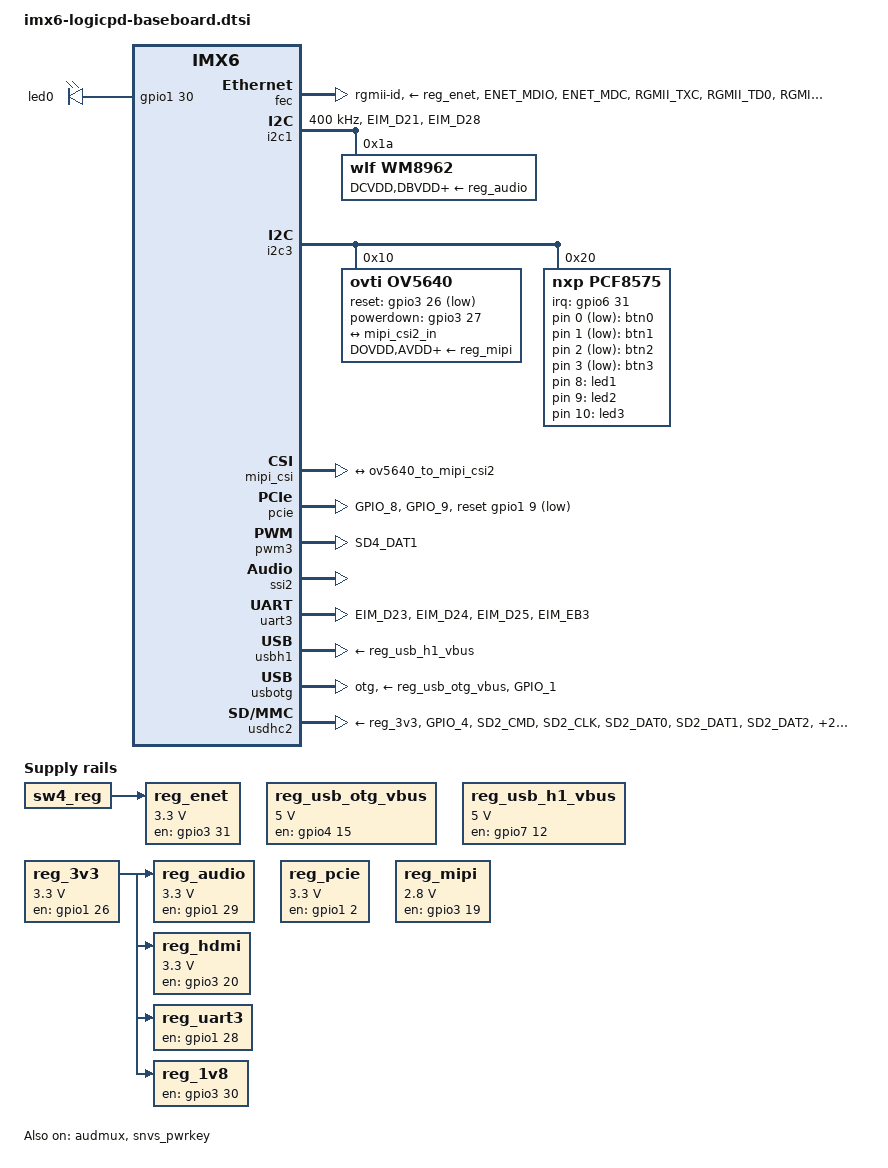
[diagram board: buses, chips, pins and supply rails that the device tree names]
// SPDX-License-Identifier: GPL-2.0
//
// Copyright (C) 2019 Logic PD, Inc.

/ {
	keyboard {
		compatible = "gpio-keys";

		btn0 {
			gpios = <&pcf8575 0 GPIO_ACTIVE_LOW>;
			label = "btn0";
			linux,code = <KEY_WAKEUP>;
			debounce-interval = <10>;
			wakeup-source;
		};

		btn1 {
			gpios = <&pcf8575 1 GPIO_ACTIVE_LOW>;
			label = "btn1";
			linux,code = <KEY_WAKEUP>;
			debounce-interval = <10>;
			wakeup-source;
		};

		btn2 {
			gpios = <&pcf8575 2 GPIO_ACTIVE_LOW>;
			label = "btn2";
			linux,code = <KEY_WAKEUP>;
			debounce-interval = <10>;
			wakeup-source;
		};

		btn3 {
			gpios = <&pcf8575 3 GPIO_ACTIVE_LOW>;
			label = "btn3";
			linux,code = <KEY_WAKEUP>;
			debounce-interval = <10>;
			wakeup-source;
		};

	};

	leds {
		compatible = "gpio-leds";

		gen-led0 {
			label = "led0";
			pinctrl-names = "default";
			pinctrl-0 = <&pinctrl_led0>;
			gpios = <&gpio1 30 GPIO_ACTIVE_HIGH>;
			linux,default-trigger = "cpu0";
		};

		gen-led1 {
			label = "led1";
			gpios = <&pcf8575 8 GPIO_ACTIVE_HIGH>;
		};

		gen-led2 {
			label = "led2";
			gpios = <&pcf8575 9 GPIO_ACTIVE_HIGH>;
			linux,default-trigger = "heartbeat";
		};

		gen-led3 {
			label = "led3";
			gpios = <&pcf8575 10 GPIO_ACTIVE_HIGH>;
			linux,default-trigger = "default-on";
		};
	};

	reg_usb_otg_vbus: regulator-otg-vbus {
		pinctrl-names = "default";
		pinctrl-0 = <&pinctrl_reg_usb_otg>;
		compatible = "regulator-fixed";
		regulator-name = "usb_otg_vbus";
		regulator-min-microvolt = <5000000>;
		regulator-max-microvolt = <5000000>;
		gpio = <&gpio4 15 GPIO_ACTIVE_HIGH>;
		enable-active-high;
	};

	reg_usb_h1_vbus: regulator-usb-h1-vbus {
		pinctrl-names = "default";
		pinctrl-0 = <&pinctrl_reg_usb_h1_vbus>;
		compatible = "regulator-fixed";
		regulator-name = "usb_h1_vbus";
		regulator-min-microvolt = <5000000>;
		regulator-max-microvolt = <5000000>;
		gpio = <&gpio7 12 GPIO_ACTIVE_HIGH>;
		startup-delay-us = <70000>;
		enable-active-high;
	};

	reg_3v3: regulator-3v3 {
		pinctrl-names = "default";
		pinctrl-0 = <&pinctrl_reg_3v3>;
		compatible = "regulator-fixed";
		regulator-name = "reg_3v3";
		regulator-min-microvolt = <3300000>;
		regulator-max-microvolt = <3300000>;
		gpio = <&gpio1 26 GPIO_ACTIVE_HIGH>;
		startup-delay-us = <70000>;
		enable-active-high;
		regulator-always-on;
	};

	reg_enet: regulator-ethernet {
		pinctrl-names = "default";
		pinctrl-0 = <&pinctrl_reg_enet>;
		compatible = "regulator-fixed";
		regulator-name = "ethernet-supply";
		regulator-min-microvolt = <3300000>;
		regulator-max-microvolt = <3300000>;
		gpio = <&gpio3 31 GPIO_ACTIVE_HIGH>;
		startup-delay-us = <70000>;
		enable-active-high;
		vin-supply = <&sw4_reg>;
	};

	reg_audio: regulator-audio {
		pinctrl-names = "default";
		pinctrl-0 = <&pinctrl_reg_audio>;
		compatible = "regulator-fixed";
		regulator-name = "3v3_aud";
		regulator-min-microvolt = <3300000>;
		regulator-max-microvolt = <3300000>;
		gpio = <&gpio1 29 GPIO_ACTIVE_HIGH>;
		enable-active-high;
		vin-supply = <&reg_3v3>;
	};

	reg_hdmi: regulator-hdmi {
		pinctrl-names = "default";
		pinctrl-0 = <&pinctrl_reg_hdmi>;
		compatible = "regulator-fixed";
		regulator-name = "hdmi-supply";
		regulator-min-microvolt = <3300000>;
		regulator-max-microvolt = <3300000>;
		gpio = <&gpio3 20 GPIO_ACTIVE_HIGH>;
		enable-active-high;
		vin-supply = <&reg_3v3>;
	};

	reg_uart3: regulator-uart3 {
		pinctrl-names = "default";
		pinctrl-0 = <&pinctrl_reg_uart3>;
		compatible = "regulator-fixed";
		regulator-name = "uart3-supply";
		gpio = <&gpio1 28 GPIO_ACTIVE_HIGH>;
		enable-active-high;
		regulator-always-on;
		vin-supply = <&reg_3v3>;
	};

	reg_1v8: regulator-1v8 {
		pinctrl-names = "default";
		pinctrl-0 = <&pinctrl_reg_1v8>;
		compatible = "regulator-fixed";
		regulator-name = "1v8-supply";
		gpio = <&gpio3 30 GPIO_ACTIVE_HIGH>;
		enable-active-high;
		regulator-always-on;
		vin-supply = <&reg_3v3>;
	};

	reg_pcie: regulator-pcie {
		compatible = "regulator-fixed";
		pinctrl-names = "default";
		pinctrl-0 = <&pinctrl_reg_pcie>;
		regulator-name = "mpcie_3v3";
		regulator-min-microvolt = <3300000>;
		regulator-max-microvolt = <3300000>;
		gpio = <&gpio1 2 GPIO_ACTIVE_HIGH>;
		enable-active-high;
	};

	reg_mipi: regulator-mipi {
		compatible = "regulator-fixed";
		pinctrl-names = "default";
		pinctrl-0 = <&pinctrl_reg_mipi>;
		regulator-name = "mipi_pwr_en";
		regulator-min-microvolt = <2800000>;
		regulator-max-microvolt = <2800000>;
		gpio = <&gpio3 19 GPIO_ACTIVE_HIGH>;
		enable-active-high;
	};

	sound {
		compatible = "fsl,imx-audio-wm8962";
		model = "wm8962-audio";
		ssi-controller = <&ssi2>;
		audio-codec = <&wm8962>;
		audio-routing =
			"Headphone Jack", "HPOUTL",
			"Headphone Jack", "HPOUTR",
			"Ext Spk", "SPKOUTL",
			"Ext Spk", "SPKOUTR",
			"AMIC", "MICBIAS",
			"IN3R", "AMIC";
		mux-int-port = <2>;
		mux-ext-port = <4>;
	};
};

&audmux {
	pinctrl-names = "default";
	pinctrl-0 = <&pinctrl_audmux>;
	status = "okay";
};

&ecspi1 {
	pinctrl-names = "default";
	pinctrl-0 = <&pinctrl_ecspi1>;
	status = "disabled";
};

&fec {
	pinctrl-names = "default";
	pinctrl-0 = <&pinctrl_enet>;
	phy-mode = "rgmii-id";
	phy-reset-duration = <10>;
	phy-reset-gpios = <&gpio1 24 GPIO_ACTIVE_LOW>;
	phy-supply = <&reg_enet>;
	interrupt-parent = <&gpio1>;
	interrupts = <25 IRQ_TYPE_EDGE_FALLING>;
	status = "okay";
};

&i2c1 {
	pinctrl-names = "default";
	pinctrl-0 = <&pinctrl_i2c1>;
	clock-frequency = <400000>;
	status = "okay";

	wm8962: audio-codec@1a {
		compatible = "wlf,wm8962";
		reg = <0x1a>;
		clocks = <&clks IMX6QDL_CLK_CKO>;
		clock-names = "xclk";
		DCVDD-supply = <&reg_audio>;
		DBVDD-supply = <&reg_audio>;
		AVDD-supply = <&reg_audio>;
		CPVDD-supply = <&reg_audio>;
		MICVDD-supply = <&reg_audio>;
		PLLVDD-supply = <&reg_audio>;
		SPKVDD1-supply = <&reg_audio>;
		SPKVDD2-supply = <&reg_audio>;
		gpio-cfg = <
			0x0000 /* 0:Default */
			0x0000 /* 1:Default */
			0x0000 /* 2:FN_DMICCLK */
			0x0000 /* 3:Default */
			0x0000 /* 4:FN_DMICCDAT */
			0x0000 /* 5:Default */
		>;
	};
};

&i2c3 {
	ov5640: camera@10 {
		compatible = "ovti,ov5640";
		pinctrl-names = "default";
		pinctrl-0 = <&pinctrl_ov5640>;
		reg = <0x10>;
		clocks = <&clks IMX6QDL_CLK_CKO>;
		clock-names = "xclk";
		DOVDD-supply = <&reg_mipi>;
		AVDD-supply = <&reg_mipi>;
		DVDD-supply = <&reg_mipi>;
		reset-gpios = <&gpio3 26 GPIO_ACTIVE_LOW>;
		powerdown-gpios = <&gpio3 27 GPIO_ACTIVE_HIGH>;

		port {
			ov5640_to_mipi_csi2: endpoint {
				remote-endpoint = <&mipi_csi2_in>;
				clock-lanes = <0>;
				data-lanes = <1 2>;
			};
		};
	};

	pcf8575: gpio@20 {
		pinctrl-names = "default";
		pinctrl-0 = <&pinctrl_pcf8574>;
		compatible = "nxp,pcf8575";
		reg = <0x20>;
		interrupt-parent = <&gpio6>;
		interrupts = <31 IRQ_TYPE_EDGE_FALLING>;
		gpio-controller;
		#gpio-cells = <2>;
		interrupt-controller;
		#interrupt-cells = <2>;
		lines-initial-states = <0x0710>;
		wakeup-source;
	};
};

&ipu1_csi1_from_mipi_vc1 {
	clock-lanes = <0>;
	data-lanes = <1 2>;
};

&mipi_csi {
	status = "okay";

	port@0 {
		reg = <0>;

		mipi_csi2_in: endpoint {
			remote-endpoint = <&ov5640_to_mipi_csi2>;
			clock-lanes = <0>;
			data-lanes = <1 2>;
		};
	};
};

&pcie {
	pinctrl-names = "default";
	pinctrl-0 = <&pinctrl_pcie>;
	reset-gpio = <&gpio1 9 GPIO_ACTIVE_LOW>;
	vpcie-supply = <&reg_pcie>;
	status = "okay";
};

&pwm3 {
	pinctrl-names = "default";
	pinctrl-0 = <&pinctrl_pwm3>;
};

&snvs_pwrkey {
	status = "okay";
};

&ssi2 {
	status = "okay";
};

&uart3 {
	pinctrl-names = "default";
	pinctrl-0 = <&pinctrl_uart3>;
	status = "okay";
};

&usbh1 {
	vbus-supply = <&reg_usb_h1_vbus>;
	status = "okay";
};

&usbotg {
	vbus-supply = <&reg_usb_otg_vbus>;
	pinctrl-names = "default";
	pinctrl-0 = <&pinctrl_usbotg>;
	disable-over-current;
	dr_mode = "otg";
	status = "okay";
};

&usdhc2 {
	pinctrl-names = "default";
	pinctrl-0 = <&pinctrl_usdhc2>;
	pinctrl-1 = <&pinctrl_usdhc2_100mhz>;
	pinctrl-2 = <&pinctrl_usdhc2_200mhz>;
	vmmc-supply = <&reg_3v3>;
	no-1-8-v;
	keep-power-in-suspend;
	cd-gpios = <&gpio1 4 GPIO_ACTIVE_LOW>;
	status = "okay";
};

&iomuxc {
	pinctrl_audmux: audmuxgrp {
		fsl,pins = <
			MX6QDL_PAD_DISP0_DAT20__AUD4_TXC  0x130b0
			MX6QDL_PAD_DISP0_DAT21__AUD4_TXD  0x110b0
			MX6QDL_PAD_DISP0_DAT22__AUD4_TXFS 0x130b0
			MX6QDL_PAD_DISP0_DAT23__AUD4_RXD  0x130b0
		>;
	};

	pinctrl_ecspi1: ecspi1grp {
		fsl,pins = <
			MX6QDL_PAD_KEY_COL0__ECSPI1_SCLK	0x100b1
			MX6QDL_PAD_KEY_ROW0__ECSPI1_MOSI	0x100b1
			MX6QDL_PAD_KEY_COL1__ECSPI1_MISO	0x100b1
			MX6QDL_PAD_KEY_ROW1__ECSPI1_SS0		0x100b1
		>;
	};

	pinctrl_enet: enetgrp {
		fsl,pins = <
			MX6QDL_PAD_ENET_MDIO__ENET_MDIO		0x1b8b0
			MX6QDL_PAD_ENET_MDC__ENET_MDC		0x1b0b0
			MX6QDL_PAD_RGMII_TXC__RGMII_TXC		0x1b030
			MX6QDL_PAD_RGMII_TD0__RGMII_TD0		0x1b030
			MX6QDL_PAD_RGMII_TD1__RGMII_TD1		0x1b030
			MX6QDL_PAD_RGMII_TD2__RGMII_TD2		0x1b030
			MX6QDL_PAD_RGMII_TD3__RGMII_TD3		0x1b030
			MX6QDL_PAD_ENET_REF_CLK__ENET_TX_CLK	0x100b0
			MX6QDL_PAD_RGMII_TX_CTL__RGMII_TX_CTL	0x1b030
			MX6QDL_PAD_GPIO_16__ENET_REF_CLK	0x4001b0a8
			MX6QDL_PAD_RGMII_RXC__RGMII_RXC		0x1b030
			MX6QDL_PAD_RGMII_RD0__RGMII_RD0		0x13030
			MX6QDL_PAD_RGMII_RD1__RGMII_RD1		0x13030
			MX6QDL_PAD_RGMII_RD2__RGMII_RD2		0x1b030
			MX6QDL_PAD_RGMII_RD3__RGMII_RD3		0x1b030
			MX6QDL_PAD_RGMII_RX_CTL__RGMII_RX_CTL	0x13030
			MX6QDL_PAD_ENET_CRS_DV__GPIO1_IO25	0x1b0b0	/* ENET_INT */
			MX6QDL_PAD_ENET_RX_ER__GPIO1_IO24	0x1b0b0	/* ETHR_nRST */
		>;
	};

	pinctrl_i2c1: i2c1grp {
		fsl,pins = <
			MX6QDL_PAD_EIM_D21__I2C1_SCL	0x4001b8b1
			MX6QDL_PAD_EIM_D28__I2C1_SDA	0x4001b8b1
		>;
	};

	pinctrl_led0: led0grp {
	    fsl,pins = <
		MX6QDL_PAD_ENET_TXD0__GPIO1_IO30	0x1b0b0
	    >;
	};

	pinctrl_ov5640: ov5640grp {
		fsl,pins = <
			MX6QDL_PAD_EIM_D26__GPIO3_IO26	0x1b0b1
			MX6QDL_PAD_EIM_D27__GPIO3_IO27	0x1b0b1
		>;
	};

	pinctrl_pcf8574: pcf8575grp {
		fsl,pins = <
			MX6QDL_PAD_EIM_BCLK__GPIO6_IO31 0x1b0b0
		>;
	};

	pinctrl_pcie: pciegrp {
		fsl,pins = <
			MX6QDL_PAD_GPIO_8__GPIO1_IO08 0x1b0b0
			MX6QDL_PAD_GPIO_9__GPIO1_IO09 0x1b0b0
		>;
	};

	pinctrl_pwm3: pwm3grp {
	    fsl,pins = <
		MX6QDL_PAD_SD4_DAT1__PWM3_OUT		0x1b0b1
	    >;
	};

	pinctrl_reg_1v8: reg1v8grp {
	    fsl,pins = <
		MX6QDL_PAD_EIM_D30__GPIO3_IO30		0x1b0b0
	    >;
	};

	pinctrl_reg_3v3: reg3v3grp {
	    fsl,pins = <
		MX6QDL_PAD_ENET_RXD1__GPIO1_IO26	0x1b0b0
	    >;
	};

	pinctrl_reg_audio: reg-audiogrp {
		fsl,pins = <
			MX6QDL_PAD_ENET_TXD1__GPIO1_IO29 0x1b0b0
		>;
	};

	pinctrl_reg_enet: reg-enetgrp {
		fsl,pins = <
			MX6QDL_PAD_EIM_D31__GPIO3_IO31	0x1b0b0
		>;
	};

	pinctrl_reg_hdmi: reg-hdmigrp {
		fsl,pins = <
			MX6QDL_PAD_EIM_D20__GPIO3_IO20	0x1b0b0
		>;
	};

	pinctrl_reg_mipi: reg-mipigrp {
		fsl,pins = <MX6QDL_PAD_EIM_D19__GPIO3_IO19 0x1b0b1>;
	};

	pinctrl_reg_pcie: reg-pciegrp {
		fsl,pins = <
			MX6QDL_PAD_GPIO_2__GPIO1_IO02	0x1b0b0
			>;
	};

	pinctrl_reg_uart3: reguart3grp {
	    fsl,pins = <
		MX6QDL_PAD_ENET_TX_EN__GPIO1_IO28	0x1b0b0
	    >;
	};

	pinctrl_reg_usb_h1_vbus: usbh1grp {
		fsl,pins = <
			MX6QDL_PAD_GPIO_17__GPIO7_IO12		0x1b0b0
		>;
	};

	pinctrl_reg_usb_otg: reg-usb-otggrp {
		fsl,pins = <
			MX6QDL_PAD_KEY_ROW4__GPIO4_IO15		0x1b0b0
		>;
	};

	pinctrl_uart3: uart3grp {
		fsl,pins = <
			MX6QDL_PAD_EIM_D23__UART3_CTS_B		0x1b0b1
			MX6QDL_PAD_EIM_D24__UART3_TX_DATA	0x1b0b1
			MX6QDL_PAD_EIM_D25__UART3_RX_DATA	0x1b0b1
			MX6QDL_PAD_EIM_EB3__UART3_RTS_B		0x1b0b1
		>;
	};

	pinctrl_usbotg: usbotggrp {
		fsl,pins = <
			MX6QDL_PAD_GPIO_1__USB_OTG_ID	0xd17059
		>;
	};

	pinctrl_usdhc2: usdhc2grp {
		fsl,pins = <
			MX6QDL_PAD_GPIO_4__GPIO1_IO04		0x1b0b0	/* CD */
			MX6QDL_PAD_SD2_CMD__SD2_CMD		0x17069
			MX6QDL_PAD_SD2_CLK__SD2_CLK		0x10069
			MX6QDL_PAD_SD2_DAT0__SD2_DATA0		0x17069
			MX6QDL_PAD_SD2_DAT1__SD2_DATA1		0x17069
			MX6QDL_PAD_SD2_DAT2__SD2_DATA2		0x17069
			MX6QDL_PAD_SD2_DAT3__SD2_DATA3		0x17069
		>;
	};

	pinctrl_usdhc2_100mhz: h100-usdhc2-100mhz {
		fsl,pins = <
			MX6QDL_PAD_GPIO_4__GPIO1_IO04		0x1b0b0	/* CD */
			MX6QDL_PAD_SD2_CMD__SD2_CMD		0x170b9
			MX6QDL_PAD_SD2_CLK__SD2_CLK		0x100b9
			MX6QDL_PAD_SD2_DAT0__SD2_DATA0		0x170b9
			MX6QDL_PAD_SD2_DAT1__SD2_DATA1		0x170b9
			MX6QDL_PAD_SD2_DAT2__SD2_DATA2		0x170b9
			MX6QDL_PAD_SD2_DAT3__SD2_DATA3		0x170b9
		>;
	};

	pinctrl_usdhc2_200mhz: h100-usdhc2-200mhz {
		fsl,pins = <
			MX6QDL_PAD_GPIO_4__GPIO1_IO04		0x1b0b0	/* CD */
			MX6QDL_PAD_SD2_CMD__SD2_CMD		0x170f9
			MX6QDL_PAD_SD2_CLK__SD2_CLK		0x100f9
			MX6QDL_PAD_SD2_DAT0__SD2_DATA0		0x170f9
			MX6QDL_PAD_SD2_DAT1__SD2_DATA1		0x170f9
			MX6QDL_PAD_SD2_DAT2__SD2_DATA2		0x170f9
			MX6QDL_PAD_SD2_DAT3__SD2_DATA3		0x170f9
		>;
	};

};
